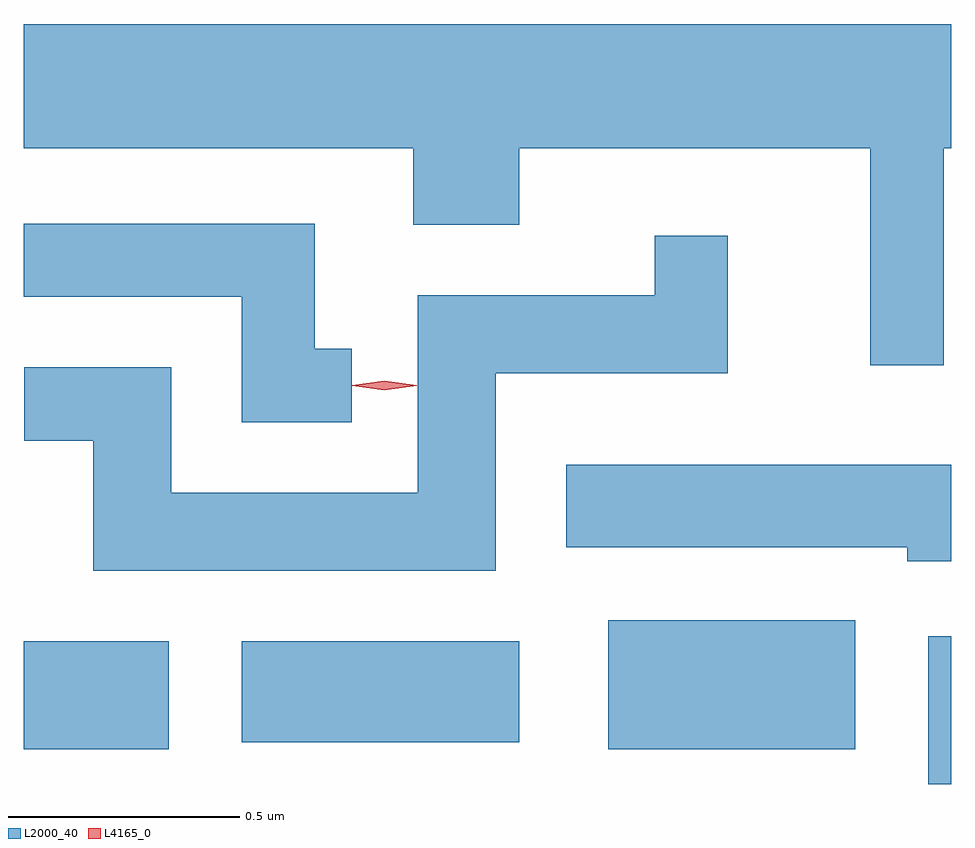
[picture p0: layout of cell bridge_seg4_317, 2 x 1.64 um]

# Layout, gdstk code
import gdstk
lib = gdstk.Library(unit=1e-6, precision=1e-09)
def R(c, l, rs):  # rectangles x0, y0, x1, y1
    for r in rs: c.add(gdstk.rectangle(r[:2], r[2:], *l))
def P(c, l, *ps):  # polygons
    for p in ps: c.add(gdstk.Polygon(p, *l))
L2000_40 = (2000, 40)
L4165_0 = (4165, 0)

bridge_seg4_317 = lib.new_cell('bridge_seg4_317')
R(bridge_seg4_317, L2000_40, [(510.201,1273.386,510.251,1273.704), (508.251,1273.461,508.564,1273.694), (509.511,1273.461,510.044,1273.739), (508.721,1273.476,509.319,1273.694)])
P(bridge_seg4_317, L2000_40, [(510.234,1274.756),(510.251,1274.756),(510.251,1275.024),(508.251,1275.024),(508.251,1274.756),(509.091,1274.756),(509.091,1274.591),(509.319,1274.591),(509.319,1274.756),(510.076,1274.756),(510.076,1274.288),(510.234,1274.288)],
  [(508.958,1274.324),(508.879,1274.324),(508.879,1274.594),(508.251,1274.594),(508.251,1274.436),(508.721,1274.436),(508.721,1274.166),(508.958,1274.166)],
  [(509.269,1274.271),(509.769,1274.271),(509.769,1274.568),(509.611,1274.568),(509.611,1274.439),(509.101,1274.439),(509.101,1274.014),(508.569,1274.014),(508.569,1274.284),(508.253,1274.284),(508.253,1274.126),(508.401,1274.126),(508.401,1273.846),(509.269,1273.846)],
  [(510.251,1274.074),(509.421,1274.074),(509.421,1273.896),(510.156,1273.896),(510.156,1273.866),(510.251,1273.866)])
P(bridge_seg4_317, L4165_0, [(509.028,1274.235),(508.959,1274.244),(508.959,1274.245),(508.959,1274.245),(509.028,1274.255),(509.098,1274.245),(509.098,1274.244),(509.098,1274.244)])

lib.write_gds('bridge_seg4_317.gds')
